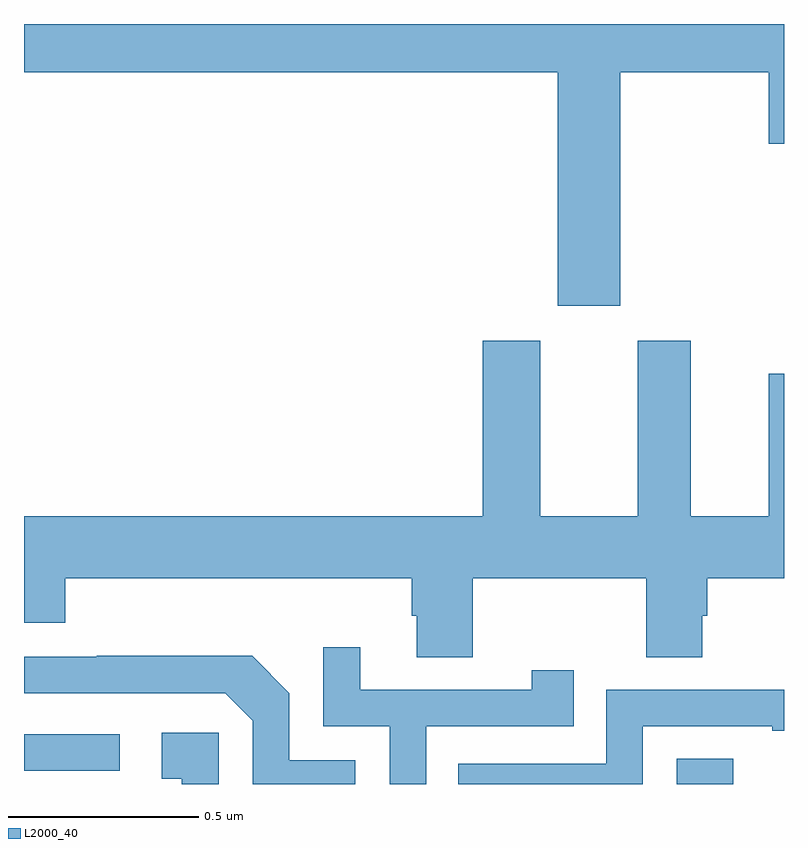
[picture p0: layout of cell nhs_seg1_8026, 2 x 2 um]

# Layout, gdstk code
import gdstk
lib = gdstk.Library(unit=1e-6, precision=1e-09)
def R(c, l, rs):  # rectangles x0, y0, x1, y1
    for r in rs: c.add(gdstk.rectangle(r[:2], r[2:], *l))
def P(c, l, *ps):  # polygons
    for p in ps: c.add(gdstk.Polygon(p, *l))
L2000_40 = (2000, 40)

nhs_seg1_8026 = lib.new_cell('nhs_seg1_8026')
R(nhs_seg1_8026, L2000_40, [(212.718,543.199,212.866,543.265), (211,543.234,211.252,543.33)])
P(nhs_seg1_8026, L2000_40, [(212.569,545.072),(212.96,545.072),(212.96,544.884),(213,544.884),(213,545.199),(211,545.199),(211,545.072),(212.405,545.072),(212.405,544.458),(212.569,544.458)],
  [(212.181,543.74),(212.638,543.74),(212.638,543.532),(212.785,543.532),(212.785,543.642),(212.798,543.642),(212.798,543.74),(213,543.74),(213,544.279),(212.96,544.279),(212.96,543.904),(212.755,543.904),(212.755,544.366),(212.615,544.366),(212.615,543.904),(212.359,543.904),(212.359,544.366),(212.207,544.366),(212.207,543.904),(211,543.904),(211,543.623),(211.109,543.623),(211.109,543.74),(212.021,543.74),(212.021,543.642),(212.033,543.642),(212.033,543.532),(212.181,543.532)],
  [(212.058,543.351),(212.447,543.351),(212.447,543.499),(212.336,543.499),(212.336,543.447),(211.885,543.447),(211.885,543.559),(211.788,543.559),(211.788,543.351),(211.962,543.351),(211.962,543.199),(212.058,543.199)],
  [(211.872,543.261),(211.698,543.261),(211.698,543.438),(211.6,543.536),(211.192,543.536),(211.192,543.534),(211,543.534),(211,543.438),(211.53,543.438),(211.602,543.366),(211.602,543.199),(211.872,543.199)],
  [(212.628,543.351),(212.969,543.351),(212.969,543.339),(213,543.339),(213,543.447),(212.532,543.447),(212.532,543.252),(212.143,543.252),(212.143,543.199),(212.628,543.199)],
  [(211.512,543.334),(211.362,543.334),(211.362,543.213),(211.415,543.213),(211.415,543.199),(211.512,543.199)])

lib.write_gds('nhs_seg1_8026.gds')
